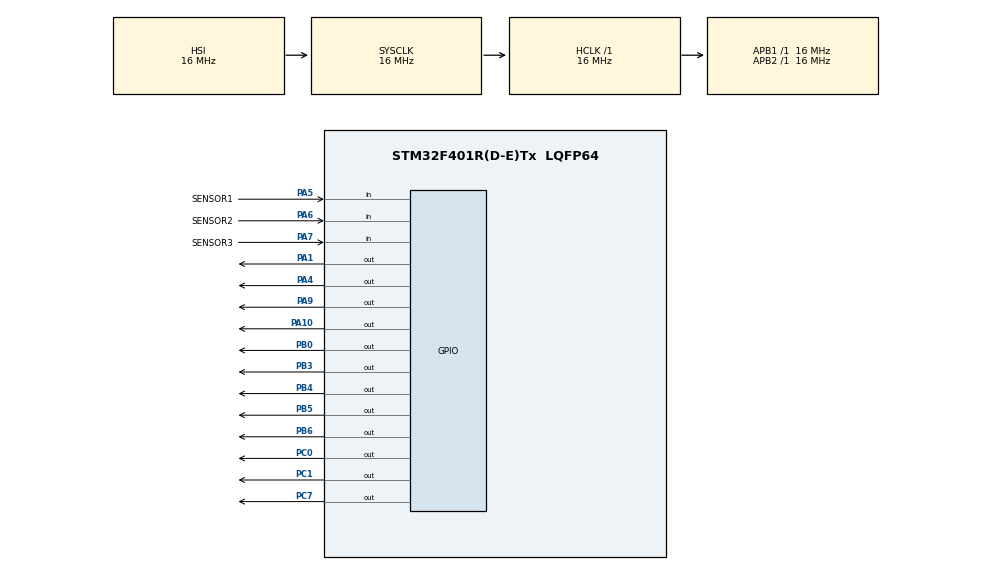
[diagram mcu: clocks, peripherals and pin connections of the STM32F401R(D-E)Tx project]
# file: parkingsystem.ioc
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Mcu.Family=STM32F4
Mcu.Name=STM32F401R(D-E)Tx
Mcu.Package=LQFP64
NVIC.PriorityGroup=NVIC_PRIORITYGROUP_4
NVIC.TIM1_TRG_COM_TIM11_IRQn=true\:0\:0\:false\:false\:true\:true\:true
PA1.Signal=GPIO_Output
PA10.Signal=GPIO_Output
PA4.Signal=GPIO_Output
PA5.GPIO_Label=SENSOR1
PA5.GPIO_PuPd=GPIO_PULLDOWN
PA5.Signal=GPIO_Input
PA6.GPIO_Label=SENSOR2
PA6.GPIO_PuPd=GPIO_PULLDOWN
PA6.Signal=GPIO_Input
PA7.GPIO_Label=SENSOR3
PA7.GPIO_PuPd=GPIO_PULLDOWN
PA7.Signal=GPIO_Input
PA9.Signal=GPIO_Output
PB0.Signal=GPIO_Output
PB3.Signal=GPIO_Output
PB4.Signal=GPIO_Output
PB5.Signal=GPIO_Output
PB6.Signal=GPIO_Output
PC0.Signal=GPIO_Output
PC1.Signal=GPIO_Output
PC7.Signal=GPIO_Output
ProjectManager.HeapSize=0x200
ProjectManager.StackSize=0x400
ProjectManager.TargetToolchain=STM32CubeIDE
RCC.AHBFreq_Value=16000000
RCC.APB1Freq_Value=16000000
RCC.APB2Freq_Value=16000000
RCC.CortexFreq_Value=16000000
RCC.HSE_VALUE=25000000
RCC.HSI_VALUE=16000000
RCC.LSE_VALUE=32768
RCC.SYSCLKFreq_VALUE=16000000
RCC.VCOOutputFreq_Value=192000000
TIM11.Period=19999
TIM11.Prescaler=1599
VP_TIM11_VS_ClockSourceINT.Mode=Enable_Timer
board=custom

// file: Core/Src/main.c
/* USER CODE BEGIN Header */
/**
  ******************************************************************************
  * @file           : main.c
  * @brief          : Main program body
  ******************************************************************************
  * @attention
  *
  * <h2><center>&copy; Copyright (c) 2022 STMicroelectronics.
  * All rights reserved.</center></h2>
  *
  * This software component is licensed by ST under BSD 3-Clause license,
  * the "License"; You may not use this file except in compliance with the
  * License. You may obtain a copy of the License at:
  *                        opensource.org/licenses/BSD-3-Clause
  *
  ******************************************************************************
  */
/* USER CODE END Header */
#include "main.h"

TIM_HandleTypeDef htim11;

/* USER CODE BEGIN PV */
//initialization of variables

int count = 3; //represents total number of available parking spaces

int Lot1 = GPIO_PIN_SET;              //initial value of parking lot 1 is set to HIGH which means available
int lastLot1State = GPIO_PIN_SET;     //initial value of previous status of parking lot 1 is set to HIGH which means available
int Lot2 = GPIO_PIN_SET;              //initial value of parking lot 2 is set to HIGH which means available
int lastLot2State = GPIO_PIN_SET;     //initial value of previous status of parking lot 2 is set to HIGH which means available
int Lot3 = GPIO_PIN_SET;              //initial value of parking lot 3 is set to HIGH which means available
int lastLot3State = GPIO_PIN_SET;     //initial value of previous status of parking lot 3 is set to HIGH which means available
/* USER CODE END PV */

void SystemClock_Config(void);
static void MX_GPIO_Init(void);
static void MX_TIM11_Init(void);

int main(void)
{

  /* MCU Configuration--------------------------------------------------------*/

  /* Reset of all peripherals, Initializes the Flash interface and the Systick. */
  HAL_Init();

  /* Configure the system clock */
  SystemClock_Config();

  /* Initialize all configured peripherals */
  MX_GPIO_Init();
  MX_TIM11_Init();
  /* USER CODE BEGIN 2 */

  HAL_TIM_Base_Start_IT(&htim11);    // Start timer with interrupt

  /* USER CODE END 2 */

  /* Infinite loop */
  /* USER CODE BEGIN WHILE */
  while (1)
  {

	  Lot1 = HAL_GPIO_ReadPin(GPIOA ,SENSOR1_Pin); //obtain value HIGH or LOW from sensor at parking lot 1
	  if(Lot1 != lastLot1State) //compare value obtained from sensor (current status) with previous status of parking lot
	  {
		  if(Lot1==GPIO_PIN_RESET) //if sensor returns value LOW
		  {
			  count--;                                    //decrease total available parking space
			  HAL_GPIO_WritePin(GPIOA, GPIO_PIN_9, 1);    //turn on RED LED at parking lot 1

		  }
		  else //if sensor returns value HIGH
		  {
			  count++;                                   //increase total available parking space
			  HAL_GPIO_WritePin(GPIOA, GPIO_PIN_9, 0);   //turn off RED LED at parking lot 1
		  }
	  }
	  lastLot1State = Lot1;   //update previous status of parking lot 1 for next iteration

	  Lot2 = HAL_GPIO_ReadPin(GPIOA ,SENSOR2_Pin);  //obtain value HIGH or LOW from sensor at parking lot 2
	  if(Lot2 != lastLot2State)  //compare value obtained from sensor (current status) with previous status of parking lot
	  {
		  if(Lot2==GPIO_PIN_RESET)  //if sensor returns value LOW
		  {
			  count--;                                   //decrease total available parking space
			  HAL_GPIO_WritePin(GPIOC, GPIO_PIN_7, 1);   //turn on RED LED at parking lot 2

		  }
		  else //if sensor returns value HIGH
		  {
			  count++;                                   //increase total available parking space
			  HAL_GPIO_WritePin(GPIOC, GPIO_PIN_7, 0);   //turn off RED LED at parking lot 2
		  }
	  }
	  lastLot2State = Lot2;   //update previous status of parking lot 2 for next iteration

	  Lot3 = HAL_GPIO_ReadPin(GPIOA ,SENSOR3_Pin);  //obtain value HIGH or LOW from sensor at parking lot 3
	  if(Lot3 != lastLot3State)  //compare value obtained from sensor (current status) with previous status of parking lot
	  {
		  if(Lot3==GPIO_PIN_RESET)  //if sensor returns value LOW
		  {
			  count--;                                   //decrease total available parking space
			  HAL_GPIO_WritePin(GPIOB, GPIO_PIN_6, 1);   //turn on RED LED at parking lot 3

		  }
		  else //if sensor returns value HIGH
		  {
			  count++;                                   //increase total available parking space
			  HAL_GPIO_WritePin(GPIOB, GPIO_PIN_6, 0);   //turn off RED LED at parking lot 3
		  }
	  }
	  lastLot3State = Lot3;   //update previous status of parking lot 3 for next iteration

    /* USER CODE END WHILE */

  }
}

void SystemClock_Config(void)
{
  RCC_OscInitTypeDef RCC_OscInitStruct = {0};
  RCC_ClkInitTypeDef RCC_ClkInitStruct = {0};

  /** Configure the main internal regulator output voltage
  */
  __HAL_RCC_PWR_CLK_ENABLE();
  __HAL_PWR_VOLTAGESCALING_CONFIG(PWR_REGULATOR_VOLTAGE_SCALE2);
  /** Initializes the RCC Oscillators according to the specified parameters
  * in the RCC_OscInitTypeDef structure.
  */
  RCC_OscInitStruct.OscillatorType = RCC_OSCILLATORTYPE_HSI;
  RCC_OscInitStruct.HSIState = RCC_HSI_ON;
  RCC_OscInitStruct.HSICalibrationValue = RCC_HSICALIBRATION_DEFAULT;
  RCC_OscInitStruct.PLL.PLLState = RCC_PLL_NONE;
  if (HAL_RCC_OscConfig(&RCC_OscInitStruct) != HAL_OK)
  {
    Error_Handler();
  }
  /** Initializes the CPU, AHB and APB buses clocks
  */
  RCC_ClkInitStruct.ClockType = RCC_CLOCKTYPE_HCLK|RCC_CLOCKTYPE_SYSCLK
                              |RCC_CLOCKTYPE_PCLK1|RCC_CLOCKTYPE_PCLK2;
  RCC_ClkInitStruct.SYSCLKSource = RCC_SYSCLKSOURCE_HSI;
  RCC_ClkInitStruct.AHBCLKDivider = RCC_SYSCLK_DIV1;
  RCC_ClkInitStruct.APB1CLKDivider = RCC_HCLK_DIV1;
  RCC_ClkInitStruct.APB2CLKDivider = RCC_HCLK_DIV1;

  if (HAL_RCC_ClockConfig(&RCC_ClkInitStruct, FLASH_LATENCY_0) != HAL_OK)
  {
    Error_Handler();
  }
}

static void MX_TIM11_Init(void)
{

  htim11.Instance = TIM11;
  htim11.Init.Prescaler = 1599;                                      // 16MHz/1600 = 10000 Hz
  htim11.Init.CounterMode = TIM_COUNTERMODE_UP;                      // 1/10000 = 0.1ms
  htim11.Init.Period = 19999;                                        // 0.1 ms x 20000 = 2 seconds
  htim11.Init.ClockDivision = TIM_CLOCKDIVISION_DIV1;
  htim11.Init.AutoReloadPreload = TIM_AUTORELOAD_PRELOAD_DISABLE;
  if (HAL_TIM_Base_Init(&htim11) != HAL_OK)
  {
    Error_Handler();
  }

}

static void MX_GPIO_Init(void)
{
  GPIO_InitTypeDef GPIO_InitStruct = {0};

  /* GPIO Ports Clock Enable */
  __HAL_RCC_GPIOC_CLK_ENABLE();
  __HAL_RCC_GPIOA_CLK_ENABLE();
  __HAL_RCC_GPIOB_CLK_ENABLE();

  /*Configure GPIO pin Output Level */
  HAL_GPIO_WritePin(GPIOC, GPIO_PIN_0|GPIO_PIN_1|GPIO_PIN_7, GPIO_PIN_RESET);

  /*Configure GPIO pin Output Level */
  HAL_GPIO_WritePin(GPIOA, GPIO_PIN_1|GPIO_PIN_4|GPIO_PIN_9|GPIO_PIN_10, GPIO_PIN_RESET);

  /*Configure GPIO pin Output Level */
  HAL_GPIO_WritePin(GPIOB, GPIO_PIN_0|GPIO_PIN_3|GPIO_PIN_4|GPIO_PIN_5
                          |GPIO_PIN_6, GPIO_PIN_RESET);

  /*Configure GPIO pins : PC0 PC1 PC7 */
  GPIO_InitStruct.Pin = GPIO_PIN_0|GPIO_PIN_1|GPIO_PIN_7;
  GPIO_InitStruct.Mode = GPIO_MODE_OUTPUT_PP;
  GPIO_InitStruct.Pull = GPIO_NOPULL;
  GPIO_InitStruct.Speed = GPIO_SPEED_FREQ_LOW;
  HAL_GPIO_Init(GPIOC, &GPIO_InitStruct);

  /*Configure GPIO pins : PA1 PA4 PA9 PA10 */
  GPIO_InitStruct.Pin = GPIO_PIN_1|GPIO_PIN_4|GPIO_PIN_9|GPIO_PIN_10;
  GPIO_InitStruct.Mode = GPIO_MODE_OUTPUT_PP;
  GPIO_InitStruct.Pull = GPIO_NOPULL;
  GPIO_InitStruct.Speed = GPIO_SPEED_FREQ_LOW;
  HAL_GPIO_Init(GPIOA, &GPIO_InitStruct);

  /*Configure GPIO pins : SENSOR1_Pin SENSOR2_Pin SENSOR3_Pin */
  GPIO_InitStruct.Pin = SENSOR1_Pin|SENSOR2_Pin|SENSOR3_Pin;
  GPIO_InitStruct.Mode = GPIO_MODE_INPUT;
  GPIO_InitStruct.Pull = GPIO_PULLDOWN;
  HAL_GPIO_Init(GPIOA, &GPIO_InitStruct);

  /*Configure GPIO pins : PB0 PB3 PB4 PB5
                           PB6 */
  GPIO_InitStruct.Pin = GPIO_PIN_0|GPIO_PIN_3|GPIO_PIN_4|GPIO_PIN_5
                          |GPIO_PIN_6;
  GPIO_InitStruct.Mode = GPIO_MODE_OUTPUT_PP;
  GPIO_InitStruct.Pull = GPIO_NOPULL;
  GPIO_InitStruct.Speed = GPIO_SPEED_FREQ_LOW;
  HAL_GPIO_Init(GPIOB, &GPIO_InitStruct);

}

/* USER CODE BEGIN 4 */
void HAL_TIM_PeriodElapsedCallback(TIM_HandleTypeDef *htim)  //timer interrupt callback
{
	if(htim==&htim11)  //every 2 seconds, the comparison is TRUE and the if loop is executed
	{
		  if(count==3)//display 3
		  {
			  HAL_GPIO_WritePin(GPIOA, GPIO_PIN_10, 1); //d1
			  HAL_GPIO_WritePin(GPIOB, GPIO_PIN_4, 1); //a
			  HAL_GPIO_WritePin(GPIOB, GPIO_PIN_3, 1); //b
			  HAL_GPIO_WritePin(GPIOB, GPIO_PIN_0, 1); //c
			  HAL_GPIO_WritePin(GPIOA, GPIO_PIN_4, 1); //d
			  HAL_GPIO_WritePin(GPIOA, GPIO_PIN_1, 0); //e
			  HAL_GPIO_WritePin(GPIOB, GPIO_PIN_5, 0); //f
			  HAL_GPIO_WritePin(GPIOC, GPIO_PIN_1, 1); //g
		  }
		  if(count==2)//display 2
		  {
			  HAL_GPIO_WritePin(GPIOA, GPIO_PIN_10, 1); //d1
			  HAL_GPIO_WritePin(GPIOB, GPIO_PIN_4, 1); //a
			  HAL_GPIO_WritePin(GPIOB, GPIO_PIN_3, 1); //b
			  HAL_GPIO_WritePin(GPIOB, GPIO_PIN_0, 0); //c
			  HAL_GPIO_WritePin(GPIOA, GPIO_PIN_4, 1); //d
			  HAL_GPIO_WritePin(GPIOA, GPIO_PIN_1, 1); //e
			  HAL_GPIO_WritePin(GPIOB, GPIO_PIN_5, 0); //f
			  HAL_GPIO_WritePin(GPIOC, GPIO_PIN_1, 1); //g
		  }
		  if(count==1)//display 1
		  {
			  HAL_GPIO_WritePin(GPIOA, GPIO_PIN_10, 1); //d1
			  HAL_GPIO_WritePin(GPIOB, GPIO_PIN_4, 0); //a
			  HAL_GPIO_WritePin(GPIOB, GPIO_PIN_3, 1); //b
			  HAL_GPIO_WritePin(GPIOB, GPIO_PIN_0, 1); //c
			  HAL_GPIO_WritePin(GPIOA, GPIO_PIN_4, 0); //d
			  HAL_GPIO_WritePin(GPIOA, GPIO_PIN_1, 0); //e
			  HAL_GPIO_WritePin(GPIOB, GPIO_PIN_5, 0); //f
			  HAL_GPIO_WritePin(GPIOC, GPIO_PIN_1, 0); //g
		  }
		  if(count==0)//display 0
		  {
			  HAL_GPIO_WritePin(GPIOA, GPIO_PIN_10, 1); //d1
			  HAL_GPIO_WritePin(GPIOB, GPIO_PIN_4, 1); //a
			  HAL_GPIO_WritePin(GPIOB, GPIO_PIN_3, 1); //b
			  HAL_GPIO_WritePin(GPIOB, GPIO_PIN_0, 1); //c
			  HAL_GPIO_WritePin(GPIOA, GPIO_PIN_4, 1); //d
			  HAL_GPIO_WritePin(GPIOA, GPIO_PIN_1, 1); //e
			  HAL_GPIO_WritePin(GPIOB, GPIO_PIN_5, 1); //f
			  HAL_GPIO_WritePin(GPIOC, GPIO_PIN_1, 0); //g

		  }
	}
}

/* USER CODE END 4 */

void Error_Handler(void)
{
  __disable_irq();
  while (1)
  {
  }
}

/************************ (C) COPYRIGHT STMicroelectronics *****END OF FILE****/
